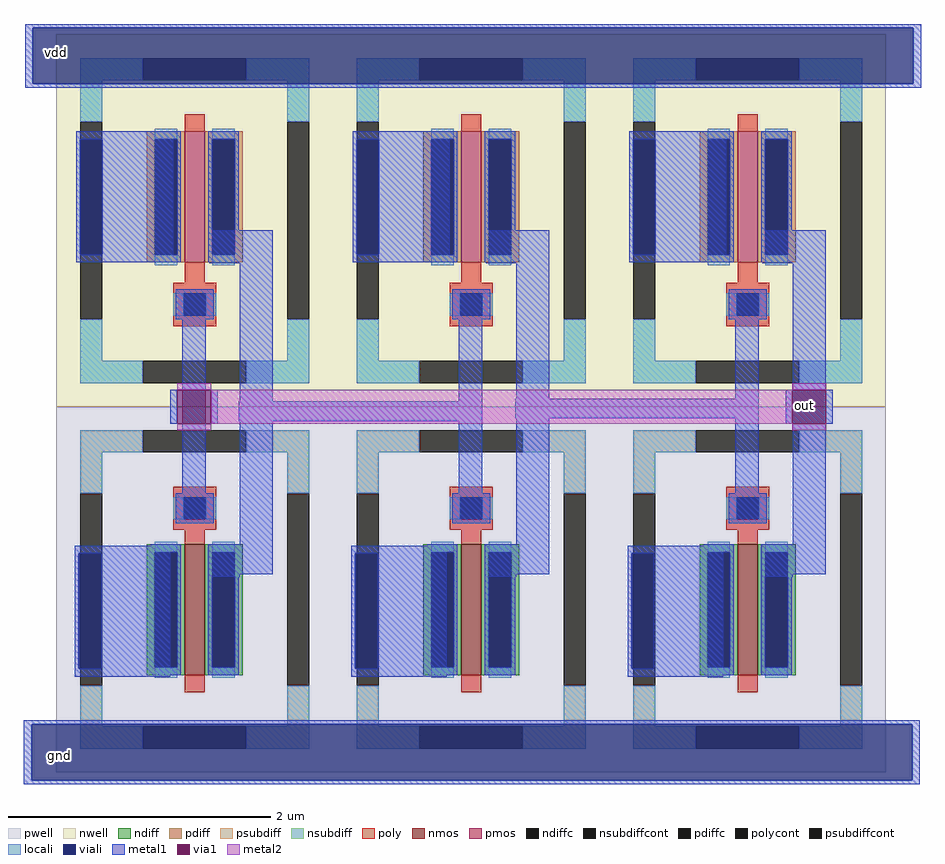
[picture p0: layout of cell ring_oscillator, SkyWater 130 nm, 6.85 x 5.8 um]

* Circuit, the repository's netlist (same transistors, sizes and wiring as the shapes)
** sch_path: /home/fazya09/latihan1/ring_oscillator.sch
.subckt ring_oscillator vdd out gnd
*.PININFO vdd:B gnd:B out:O
x1 vdd out net1 gnd hierarchy1
x2 vdd net1 net2 gnd hierarchy1
x3 vdd net2 out gnd hierarchy1
.ends

* expanding   symbol:  /home/fazya09/hierarchy1.sym # of pins=4
** sym_path: /home/fazya09/hierarchy1.sym
** sch_path: /home/fazya09/hierarchy1.sch
.subckt hierarchy1 vdd in out gnd
*.PININFO gnd:I in:I vdd:I out:O
XM1 out in gnd gnd sky130_fd_pr__nfet_01v8 L=0.15 W=1 nf=1 m=1
XM3 out in vdd vdd sky130_fd_pr__pfet_01v8 L=0.15 W=1 nf=1 m=1
.ends

.end

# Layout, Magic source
magic
tech sky130A
magscale 1 2
<< viali >>
rect -36 1051 1308 1136
rect -38 -12 1306 73
<< metal1 >>
rect -48 1136 1320 1142
rect -48 1051 -36 1136
rect 1308 1051 1320 1136
rect -48 1045 1320 1051
rect 174 532 184 584
rect 236 532 246 584
rect 278 536 650 566
rect 700 540 1072 570
rect 1113 532 1123 584
rect 1175 532 1185 584
rect -50 73 1318 79
rect -50 -12 -38 73
rect 1306 -12 1318 73
rect -50 -18 1318 -12
<< via1 >>
rect 184 532 236 584
rect 1123 532 1175 584
<< metal2 >>
rect 184 584 236 594
rect 1123 584 1175 594
rect 236 532 1123 584
rect 184 522 236 532
rect 1123 522 1175 532
use hierarchy1  x1
transform 1 0 -336 0 1 -250
box 336 250 758 1376
use hierarchy1  x2
transform 1 0 86 0 1 -250
box 336 250 758 1376
use hierarchy1  x3
transform 1 0 508 0 1 -250
box 336 250 758 1376
<< labels >>
flabel viali 0 1099 0 1099 0 FreeSans 160 0 0 0 vdd
port 0 nsew
flabel viali 4 26 4 26 0 FreeSans 160 0 0 0 gnd
port 1 nsew
flabel via1 1142 559 1142 559 0 FreeSans 160 0 0 0 out
port 3 nsew
<< end >>

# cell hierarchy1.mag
magic
tech sky130A
magscale 1 2
<< viali >>
rect 372 1040 406 1216
rect 370 408 404 584
<< metal1 >>
rect 366 1216 514 1228
rect 366 1040 372 1216
rect 406 1040 514 1216
rect 366 1028 514 1040
rect 569 1027 666 1077
rect 528 634 564 982
rect 616 598 666 1027
rect 364 584 510 596
rect 364 408 370 584
rect 404 408 510 584
rect 568 552 666 598
rect 568 548 616 552
rect 364 396 510 408
use sky130_fd_pr__pfet_01v8_LGS3BL  XM1
transform 1 0 547 0 1 1092
box -211 -284 211 284
use sky130_fd_pr__nfet_01v8_64Z3AY  XM3
transform 1 0 547 0 1 529
box -211 -279 211 279
<< labels >>
flabel metal1 424 1136 424 1136 0 FreeSans 160 0 0 0 vdd
port 0 nsew
flabel metal1 418 512 418 512 0 FreeSans 160 0 0 0 gnd
port 1 nsew
flabel metal1 636 808 636 808 0 FreeSans 160 0 0 0 out
port 2 nsew
flabel metal1 544 810 544 810 0 FreeSans 160 0 0 0 in
port 3 nsew
<< end >>

# cell sky130_fd_pr__pfet_01v8_LGS3BL: kit device sky130_fd_pr__pfet_01v8, w 1.0 l 0.15 m 1 nf 1 diffcov 100 polycov 100 guard 1 glc 1 grc 1 gtc 1 gbc 1 tbcov 100 rlcov 100 topc 0 botc 1 poverlap 0 doverlap 1 lmin 0.15 wmin 0.42 compatible {sky130_fd_pr__pfet_01v8 sky130_fd_pr__pfet_01v8_lvt sky130_fd_pr__pfet_01v8_hvt sky130_fd_pr__pfet_g5v0d10v5} full_metal 1 viasrc 100 viadrn 100 viagate 100 viagb 0 viagr 0 viagl 0 viagt 0

# cell sky130_fd_pr__nfet_01v8_64Z3AY: kit device sky130_fd_pr__nfet_01v8, w 1.0 l 0.15 m 1 nf 1 diffcov 100 polycov 100 guard 1 glc 1 grc 1 gtc 1 gbc 1 tbcov 100 rlcov 100 topc 1 botc 0 poverlap 0 doverlap 1 lmin 0.15 wmin 0.42 compatible {sky130_fd_pr__nfet_01v8 sky130_fd_pr__nfet_01v8_lvt sky130_fd_bs_flash__special_sonosfet_star sky130_fd_pr__nfet_g5v0d10v5 sky130_fd_pr__nfet_05v0_nvt sky130_fd_pr__nfet_03v3_nvt} full_metal 1 viasrc 100 viadrn 100 viagate 100 viagb 0 viagr 0 viagl 0 viagt 0
